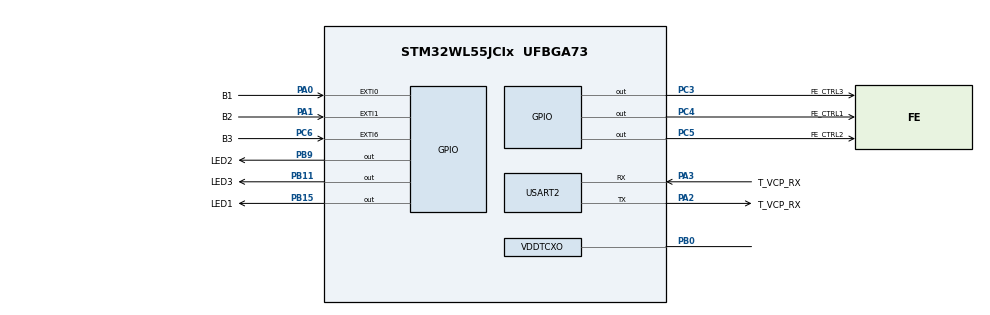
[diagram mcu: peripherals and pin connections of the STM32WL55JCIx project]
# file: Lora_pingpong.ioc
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AES.Algorithm=CRYP_AES_ECB
AES.DataType=CRYP_DATATYPE_1B
AES.DataWidthUnit=CRYP_DATAWIDTHUNIT_BYTE
AES.HeaderWidthUnit=CRYP_HEADERWIDTHUNIT_BYTE
AES.KeyIVConfigSkip=CRYP_KEYIVCONFIG_ALWAYS
AES.KeySize=CRYP_KEYSIZE_256B
AES.pKey=603DEB10 15CA71BE 2B73AEF0 857D7781 1F352C07 3B6108D7 2D9810A3 0914DFF4
Dma.Request0=USART2_RX
Dma.USART2_RX.0.Channel_PRIV_NPRIV=DMA_CHANNEL_NPRIV_DISABLE
Dma.USART2_RX.0.Direction=DMA_PERIPH_TO_MEMORY
Dma.USART2_RX.0.EventEnable=DISABLE
Dma.USART2_RX.0.Instance=DMA1_Channel1
Dma.USART2_RX.0.MemDataAlignment=DMA_MDATAALIGN_BYTE
Dma.USART2_RX.0.MemInc=DMA_MINC_ENABLE
Dma.USART2_RX.0.Mode=DMA_NORMAL
Dma.USART2_RX.0.PeriphDataAlignment=DMA_PDATAALIGN_BYTE
Dma.USART2_RX.0.PeriphInc=DMA_PINC_DISABLE
Dma.USART2_RX.0.Polarity=HAL_DMAMUX_REQ_GEN_RISING
Dma.USART2_RX.0.Priority=DMA_PRIORITY_LOW
Dma.USART2_RX.0.RequestNumber=1
Dma.USART2_RX.0.SignalID=NONE
Dma.USART2_RX.0.SyncEnable=DISABLE
Dma.USART2_RX.0.SyncPolarity=HAL_DMAMUX_SYNC_NO_EVENT
Dma.USART2_RX.0.SyncRequestNumber=1
Dma.USART2_RX.0.SyncSignalID=NONE
FREERTOS.Tasks01=LoraTask,0,512,StartLoraTask,Default,NULL,Dynamic,NULL,NULL;GPIOTask,2,1536,StartGPIOTask,Default,NULL,Dynamic,NULL,NULL
FREERTOS.configMINIMAL_STACK_SIZE=256
FREERTOS.configTOTAL_HEAP_SIZE=9000
FREERTOS.configUSE_NEWLIB_REENTRANT=1
Mcu.Family=STM32WL
Mcu.Name=STM32WL55JCIx
Mcu.Package=UFBGA73
NVIC.DMA1_Channel1_IRQn=true\:5\:0\:false\:false\:true\:true\:false\:true\:true
NVIC.EXTI0_IRQn=true\:5\:0\:false\:false\:true\:true\:true\:true\:true
NVIC.EXTI1_IRQn=true\:5\:0\:false\:false\:true\:true\:true\:true\:true
NVIC.EXTI9_5_IRQn=true\:5\:0\:false\:false\:true\:true\:true\:true\:true
NVIC.PriorityGroup=NVIC_PRIORITYGROUP_4
NVIC.SUBGHZ_Radio_IRQn=true\:5\:0\:false\:false\:true\:true\:true\:true\:true
NVIC.TIM17_IRQn=true\:15\:0\:false\:false\:true\:false\:false\:true\:true
NVIC.TimeBase=TIM17_IRQn
NVIC.TimeBaseIP=TIM17
NVIC.USART2_IRQn=true\:5\:0\:false\:false\:true\:true\:true\:true\:true
OSC_IN.Mode=HSE-TCXO
OSC_IN.Signal=RCC_OSC_IN
PA0.GPIO_Label=B1
PA0.GPIO_ModeDefaultEXTI=GPIO_MODE_IT_FALLING
PA0.GPIO_PuPd=GPIO_PULLUP
PA0.Signal=GPXTI0
PA1.GPIO_Label=B2
PA1.GPIO_ModeDefaultEXTI=GPIO_MODE_IT_FALLING
PA1.GPIO_PuPd=GPIO_PULLUP
PA1.Signal=GPXTI1
PA13.Mode=Serial_Wire
PA13.Signal=DEBUG_JTMS-SWDIO
PA14.Mode=Serial_Wire
PA14.Signal=DEBUG_JTCK-SWCLK
PA2.GPIO_Label=T_VCP_RX
PA2.Mode=Asynchronous
PA2.Signal=USART2_TX
PA3.GPIO_Label=T_VCP_RX
PA3.Mode=Asynchronous
PA3.Signal=USART2_RX
PB0-VDD_TCXO.Mode=HSE-TCXO
PB0-VDD_TCXO.Signal=VDDTCXO
PB11.GPIO_Label=LED3
PB11.GPIO_Speed=GPIO_SPEED_FREQ_HIGH
PB11.Signal=GPIO_Output
PB15.GPIO_Label=LED1
PB15.GPIO_Speed=GPIO_SPEED_FREQ_HIGH
PB15.Signal=GPIO_Output
PB9.GPIO_FM9=__NULL
PB9.GPIO_Label=LED2
PB9.GPIO_Speed=GPIO_SPEED_FREQ_HIGH
PB9.Signal=GPIO_Output
PC14-OSC32_IN.Mode=LSE-External-Oscillator
PC14-OSC32_IN.Signal=RCC_OSC32_IN
PC15-OSC32_OUT.Mode=LSE-External-Oscillator
PC15-OSC32_OUT.Signal=RCC_OSC32_OUT
PC3.GPIO_Label=FE_CTRL3
PC3.GPIO_Speed=GPIO_SPEED_FREQ_VERY_HIGH
PC3.Signal=GPIO_Output
PC4.GPIO_Label=FE_CTRL1
PC4.GPIO_Speed=GPIO_SPEED_FREQ_VERY_HIGH
PC4.Signal=GPIO_Output
PC5.GPIO_Label=FE_CTRL2
PC5.GPIO_Speed=GPIO_SPEED_FREQ_VERY_HIGH
PC5.Signal=GPIO_Output
PC6.GPIO_Label=B3
PC6.GPIO_ModeDefaultEXTI=GPIO_MODE_IT_FALLING
PC6.GPIO_PuPd=GPIO_PULLUP
PC6.Signal=GPXTI6
ProjectManager.HeapSize=0x200
ProjectManager.StackSize=0x400
ProjectManager.TargetToolchain=STM32CubeIDE
RCC.AHBFreq_Value=48000000
RCC.APB1Freq_Value=48000000
RCC.APB1TimFreq_Value=48000000
RCC.APB2Freq_Value=48000000
RCC.APB2TimFreq_Value=48000000
RCC.APB3Freq_Value=48000000
RCC.CortexFreq_Value=48000000
RCC.HCLKFreq_Value=48000000
RCC.HSE_VALUE=32000000
RCC.HSI_VALUE=16000000
RCC.LSE_VALUE=32768
RCC.MSIClockRange=RCC_MSIRANGE_11
RCC.SYSCLKFreq_VALUE=48000000
RCC.VCOOutputFreq_Value=384000000
SUBGHZ.BaudratePrescaler=SUBGHZSPI_BAUDRATEPRESCALER_4
USART2.VirtualMode-Asynchronous=VM_ASYNC
VP_AES_VS_AES.Mode=AES_Activate
VP_FREERTOS_VS_CMSIS_V1.Mode=CMSIS_V1
VP_SUBGHZ_VS_SUBGHZ.Mode=SUBGHZ_Activate
VP_SYS_VS_tim17.Mode=TIM17
board=NUCLEO-WL55JC2

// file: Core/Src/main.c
/* USER CODE BEGIN Header */
/**
  ******************************************************************************
  * @file           : main.c
  * @brief          : Main program body
  ******************************************************************************
  * @attention
  *
  * <h2><center>&copy; Copyright (c) 2021 STMicroelectronics.
  * All rights reserved.</center></h2>
  *
  * This software component is licensed by ST under BSD 3-Clause license,
  * the "License"; You may not use this file except in compliance with the
  * License. You may obtain a copy of the License at:
  *                        opensource.org/licenses/BSD-3-Clause
  *
  ******************************************************************************
  */
/* USER CODE END Header */
#include "main.h"
#include "cmsis_os.h"
#include "aes.h"
#include "dma.h"
#include "subghz.h"
#include "usart.h"
#include "gpio.h"

/* USER CODE BEGIN PM */

extern char uartBuff[1024];
extern volatile uint32_t RF_FREQUENCY;
extern pingPongFSM_t fsm;
extern uint8_t rxBuffer[RX_SIZE];
extern uint8_t size;

/* USER CODE END PM */

void SystemClock_Config(void);
void MX_FREERTOS_Init(void);

int main(void)
{
  /* USER CODE BEGIN 1 */

//  char uartBuff[100];

  /* USER CODE END 1 */

  /* MCU Configuration--------------------------------------------------------*/

  /* Reset of all peripherals, Initializes the Flash interface and the Systick. */
  HAL_Init();

  /* Configure the system clock */
  SystemClock_Config();

  /* Initialize all configured peripherals */
  MX_GPIO_Init();
  MX_DMA_Init();
  MX_USART2_UART_Init();
  MX_SUBGHZ_Init();
  MX_AES_Init();
  /* USER CODE BEGIN 2 */
  radioInit();
  fsmInit();
  UartDmaStart();

  /* USER CODE END 2 */

  /* Call init function for freertos objects (in freertos.c) */
  MX_FREERTOS_Init();

  /* Start scheduler */
  osKernelStart();

  /* We should never get here as control is now taken by the scheduler */
  /* Infinite loop */
  while (1)
  {

    /* USER CODE BEGIN 3 */
	 // SUBGHZ();

  }
  /* USER CODE END 3 */
}

void SystemClock_Config(void)
{
  RCC_OscInitTypeDef RCC_OscInitStruct = {0};
  RCC_ClkInitTypeDef RCC_ClkInitStruct = {0};

  /** Configure LSE Drive Capability
  */
  HAL_PWR_EnableBkUpAccess();
  __HAL_RCC_LSEDRIVE_CONFIG(RCC_LSEDRIVE_LOW);

  /** Configure the main internal regulator output voltage
  */
  __HAL_PWR_VOLTAGESCALING_CONFIG(PWR_REGULATOR_VOLTAGE_SCALE1);

  /** Initializes the CPU, AHB and APB buses clocks
  */
  RCC_OscInitStruct.OscillatorType = RCC_OSCILLATORTYPE_LSE|RCC_OSCILLATORTYPE_MSI;
  RCC_OscInitStruct.LSEState = RCC_LSE_ON;
  RCC_OscInitStruct.MSIState = RCC_MSI_ON;
  RCC_OscInitStruct.MSICalibrationValue = RCC_MSICALIBRATION_DEFAULT;
  RCC_OscInitStruct.MSIClockRange = RCC_MSIRANGE_11;
  RCC_OscInitStruct.PLL.PLLState = RCC_PLL_NONE;
  if (HAL_RCC_OscConfig(&RCC_OscInitStruct) != HAL_OK)
  {
    Error_Handler();
  }

  /** Configure the SYSCLKSource, HCLK, PCLK1 and PCLK2 clocks dividers
  */
  RCC_ClkInitStruct.ClockType = RCC_CLOCKTYPE_HCLK3|RCC_CLOCKTYPE_HCLK
                              |RCC_CLOCKTYPE_SYSCLK|RCC_CLOCKTYPE_PCLK1
                              |RCC_CLOCKTYPE_PCLK2;
  RCC_ClkInitStruct.SYSCLKSource = RCC_SYSCLKSOURCE_MSI;
  RCC_ClkInitStruct.AHBCLKDivider = RCC_SYSCLK_DIV1;
  RCC_ClkInitStruct.APB1CLKDivider = RCC_HCLK_DIV1;
  RCC_ClkInitStruct.APB2CLKDivider = RCC_HCLK_DIV1;
  RCC_ClkInitStruct.AHBCLK3Divider = RCC_SYSCLK_DIV1;

  if (HAL_RCC_ClockConfig(&RCC_ClkInitStruct, FLASH_LATENCY_2) != HAL_OK)
  {
    Error_Handler();
  }
}

/* USER CODE BEGIN 4 */

/**
  * @brief  Initialize the Sub-GHz radio and dependent hardware.
  * @retval None
  */

/**
  * @brief  Receive data trough SUBGHZSPI peripheral
  * @param  radioIrq  interrupt pending status information
  * @retval None
  */

void HAL_GPIO_EXTI_Callback(uint16_t GPIO_Pin)
{

  if(GPIO_Pin == GPIO_PIN_0)
  {
	  BSP_LED_Off(LED_GREEN);
	  BSP_LED_Off(LED_RED);
	  BSP_LED_Toggle(LED_BLUE);
	  RF_FREQUENCY = 470000000;

  }
  else if (GPIO_Pin == GPIO_PIN_1)
  {
	  BSP_LED_Off(LED_BLUE);
	  BSP_LED_Off(LED_RED);
	 // BSP_LED_Toggle(LED_GREEN);
	  RF_FREQUENCY = 433000000;

  }
  else if (GPIO_Pin == GPIO_PIN_6)

  {
	  BSP_LED_Off(LED_GREEN);
	  BSP_LED_Off(LED_BLUE);
	  BSP_LED_Toggle(LED_RED);
	  RF_FREQUENCY = 520000000;

  }

}

/* USER CODE END 4 */

void HAL_TIM_PeriodElapsedCallback(TIM_HandleTypeDef *htim)
{
  if (htim->Instance == TIM17) {
    HAL_IncTick();
  }
}

void Error_Handler(void)
{
  __disable_irq();
  while (1)
  {
  }
}

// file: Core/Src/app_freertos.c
/* USER CODE BEGIN Header */
/**
  ******************************************************************************
  * File Name          : app_freertos.c
  * Description        : Code for freertos applications
  ******************************************************************************
  * @attention
  *
  * Copyright (c) 2023 STMicroelectronics.
  * All rights reserved.
  *
  * This software is licensed under terms that can be found in the LICENSE file
  * in the root directory of this software component.
  * If no LICENSE file comes with this software, it is provided AS-IS.
  *
  ******************************************************************************
  */
/* USER CODE END Header */

#include "FreeRTOS.h"
#include "task.h"
#include "main.h"
#include "cmsis_os.h"

/* USER CODE BEGIN PM */
extern uint8_t rxBuffer[RX_SIZE];
extern uint8_t size;
/* USER CODE END PM */

osThreadId LoraTaskHandle;
osThreadId GPIOTaskHandle;

void StartLoraTask(void const * argument);
void StartGPIOTask(void const * argument);

void MX_FREERTOS_Init(void); /* (MISRA C 2004 rule 8.1) */

/* GetIdleTaskMemory prototype (linked to static allocation support) */
void vApplicationGetIdleTaskMemory( StaticTask_t **ppxIdleTaskTCBBuffer, StackType_t **ppxIdleTaskStackBuffer, uint32_t *pulIdleTaskStackSize );

/* USER CODE BEGIN GET_IDLE_TASK_MEMORY */
static StaticTask_t xIdleTaskTCBBuffer;
static StackType_t xIdleStack[configMINIMAL_STACK_SIZE];

void vApplicationGetIdleTaskMemory( StaticTask_t **ppxIdleTaskTCBBuffer, StackType_t **ppxIdleTaskStackBuffer, uint32_t *pulIdleTaskStackSize )
{
  *ppxIdleTaskTCBBuffer = &xIdleTaskTCBBuffer;
  *ppxIdleTaskStackBuffer = &xIdleStack[0];
  *pulIdleTaskStackSize = configMINIMAL_STACK_SIZE;
  /* place for user code */
}
/* USER CODE END GET_IDLE_TASK_MEMORY */

void MX_FREERTOS_Init(void) {

  /* Create the thread(s) */
  /* definition and creation of LoraTask */
  osThreadDef(LoraTask, StartLoraTask, osPriorityNormal, 0, 512);
  LoraTaskHandle = osThreadCreate(osThread(LoraTask), NULL);

  /* definition and creation of GPIOTask */
  osThreadDef(GPIOTask, StartGPIOTask, osPriorityHigh, 0, 1536);
  GPIOTaskHandle = osThreadCreate(osThread(GPIOTask), NULL);

}

void StartLoraTask(void const * argument)
{
  /* USER CODE BEGIN StartLoraTask */
  /* Infinite loop */
	//SUBGHZ();
	while (1)
	  {
		  SUBGHZ();
		  //osDelay(1000);
		//BSP_LED_Toggle(LED_BLUE);
		  osDelay(100);
	  }
//  for(;;)
//  {
//	SUBGHZ();
//    osDelay(1000);
//  }
  /* USER CODE END StartLoraTask */
}

void StartGPIOTask(void const * argument)
{
  /* USER CODE BEGIN StartGPIOTask */
  /* Infinite loop */
	while (1)
		  {

//		    AES_start();
//			BSP_LED_Toggle(LED_RED);
//			osDelay(3000);

		  }
  /* USER CODE END StartGPIOTask */
}
